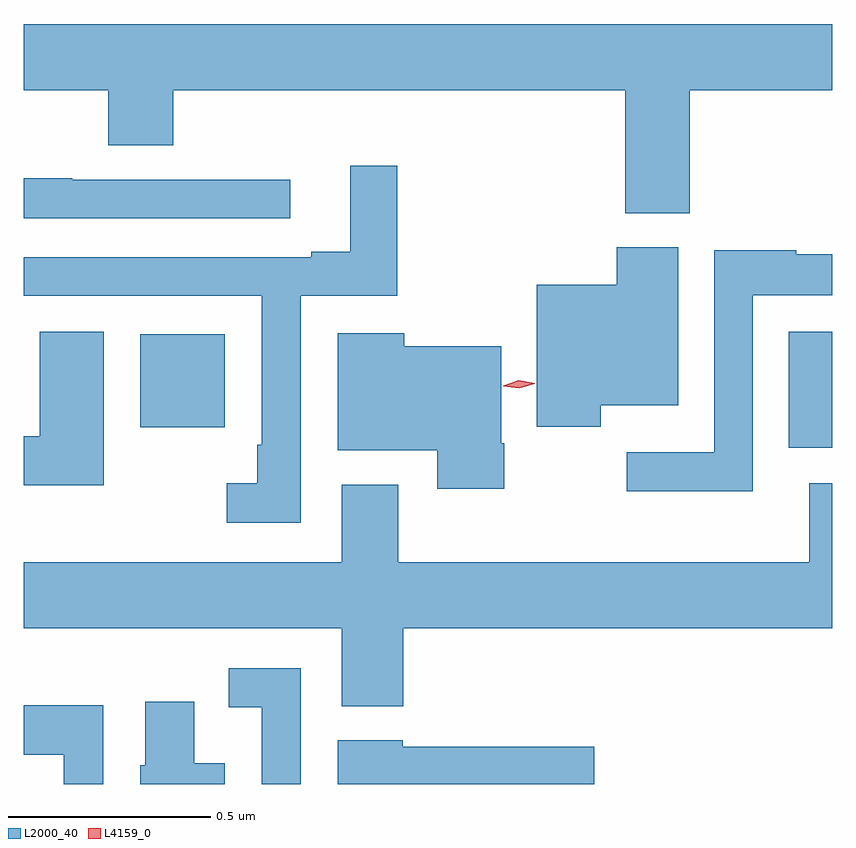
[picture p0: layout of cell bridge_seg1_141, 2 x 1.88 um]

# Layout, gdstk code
import gdstk
lib = gdstk.Library(unit=1e-6, precision=1e-09)
def R(c, l, rs):  # rectangles x0, y0, x1, y1
    for r in rs: c.add(gdstk.rectangle(r[:2], r[2:], *l))
def P(c, l, *ps):  # polygons
    for p in ps: c.add(gdstk.Polygon(p, *l))
L2000_40 = (2000, 40)
L4159_0 = (4159, 0)

bridge_seg1_141 = lib.new_cell('bridge_seg1_141')
R(bridge_seg1_141, L2000_40, [(493.22,568.163,493.327,568.45), (491.615,568.214,491.824,568.444)])
P(bridge_seg1_141, L2000_40, [(492.975,569.048),(493.327,569.048),(493.327,569.212),(491.327,569.212),(491.327,569.048),(491.536,569.048),(491.536,568.912),(491.696,568.912),(491.696,569.048),(492.815,569.048),(492.815,568.744),(492.975,568.744)],
  [(492.012,568.539),(492.251,568.539),(492.251,568.861),(492.134,568.861),(492.134,568.648),(492.038,568.648),(492.038,568.635),(491.327,568.635),(491.327,568.539),(491.916,568.539),(491.916,568.171),(491.904,568.171),(491.904,568.075),(491.829,568.075),(491.829,567.978),(492.012,567.978)],
  [(491.986,568.827),(491.447,568.827),(491.447,568.83),(491.327,568.83),(491.327,568.731),(491.986,568.731)],
  [(492.754,568.268),(492.946,568.268),(492.946,568.659),(492.794,568.659),(492.794,568.567),(492.596,568.567),(492.596,568.215),(492.754,568.215)],
  [(493.131,568.541),(493.327,568.541),(493.327,568.642),(493.238,568.642),(493.238,568.652),(493.035,568.652),(493.035,568.152),(492.819,568.152),(492.819,568.055),(493.131,568.055)],
  [(491.524,568.45),(491.366,568.45),(491.366,568.192),(491.327,568.192),(491.327,568.07),(491.524,568.07)],
  [(492.516,568.174),(492.508,568.174),(492.508,568.414),(492.268,568.414),(492.268,568.447),(492.104,568.447),(492.104,568.157),(492.35,568.157),(492.35,568.062),(492.516,568.062)],
  [(492.266,567.716),(493.327,567.716),(493.327,568.075),(493.271,568.075),(493.271,567.88),(492.253,567.88),(492.253,568.072),(492.113,568.072),(492.113,567.88),(491.327,567.88),(491.327,567.716),(492.113,567.716),(492.113,567.524),(492.266,567.524)],
  [(492.012,567.618),(491.834,567.618),(491.834,567.521),(491.916,567.521),(491.916,567.331),(492.012,567.331)],
  [(491.824,567.382),(491.749,567.382),(491.749,567.535),(491.627,567.535),(491.627,567.378),(491.615,567.378),(491.615,567.331),(491.824,567.331)],
  [(491.523,567.526),(491.327,567.526),(491.327,567.404),(491.426,567.404),(491.426,567.331),(491.523,567.331)],
  [(492.739,567.423),(492.264,567.423),(492.264,567.439),(492.104,567.439),(492.104,567.331),(492.739,567.331)])
P(bridge_seg1_141, L4159_0, [(492.553,568.31),(492.513,568.316),(492.513,568.316),(492.513,568.317),(492.551,568.33),(492.591,568.323),(492.591,568.323),(492.591,568.322)])

lib.write_gds('bridge_seg1_141.gds')
